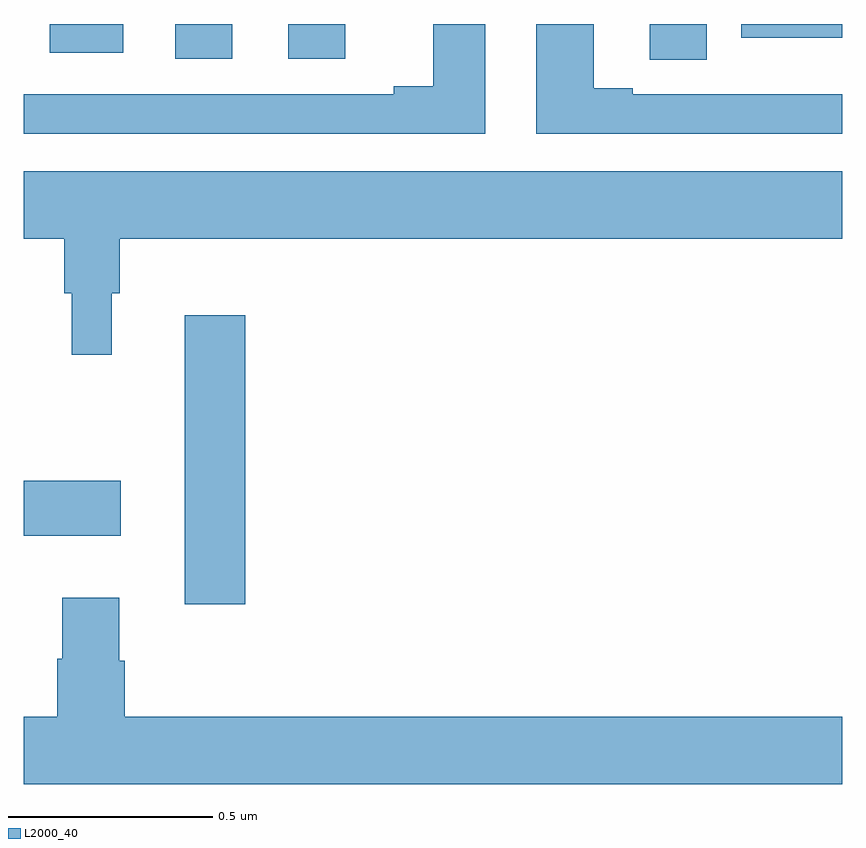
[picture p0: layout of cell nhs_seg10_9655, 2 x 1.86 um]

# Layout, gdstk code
import gdstk
lib = gdstk.Library(unit=1e-6, precision=1e-09)
def R(c, l, rs):  # rectangles x0, y0, x1, y1
    for r in rs: c.add(gdstk.rectangle(r[:2], r[2:], *l))
def P(c, l, *ps):  # polygons
    for p in ps: c.add(gdstk.Polygon(p, *l))
L2000_40 = (2000, 40)

nhs_seg10_9655 = lib.new_cell('nhs_seg10_9655')
R(nhs_seg10_9655, L2000_40, [(232.394,1306.083,232.541,1306.789), (232,1306.25,232.237,1306.385), (233.529,1307.413,233.668,1307.5), (232.37,1307.415,232.51,1307.5), (232.646,1307.415,232.786,1307.5), (232.064,1307.43,232.243,1307.5), (233.753,1307.466,234,1307.5)])
P(nhs_seg10_9655, L2000_40, [(234,1307.328),(233.93,1307.328),(233.93,1307.329),(233.764,1307.329),(233.764,1307.328),(233.488,1307.328),(233.488,1307.343),(233.392,1307.343),(233.392,1307.5),(233.252,1307.5),(233.252,1307.232),(234,1307.232)],
  [(233.128,1307.5),(233,1307.5),(233,1307.348),(232.904,1307.348),(232.904,1307.328),(232,1307.328),(232,1307.232),(233.128,1307.232)],
  [(232.216,1306.842),(232.235,1306.842),(232.235,1306.976),(234,1306.976),(234,1307.14),(232,1307.14),(232,1306.976),(232.099,1306.976),(232.099,1306.842),(232.118,1306.842),(232.118,1306.692),(232.216,1306.692)],
  [(234,1305.808),(232.247,1305.808),(232.247,1305.945),(232.234,1305.945),(232.234,1306.099),(232.094,1306.099),(232.094,1305.95),(232.082,1305.95),(232.082,1305.808),(232,1305.808),(232,1305.644),(234,1305.644)])

lib.write_gds('nhs_seg10_9655.gds')
